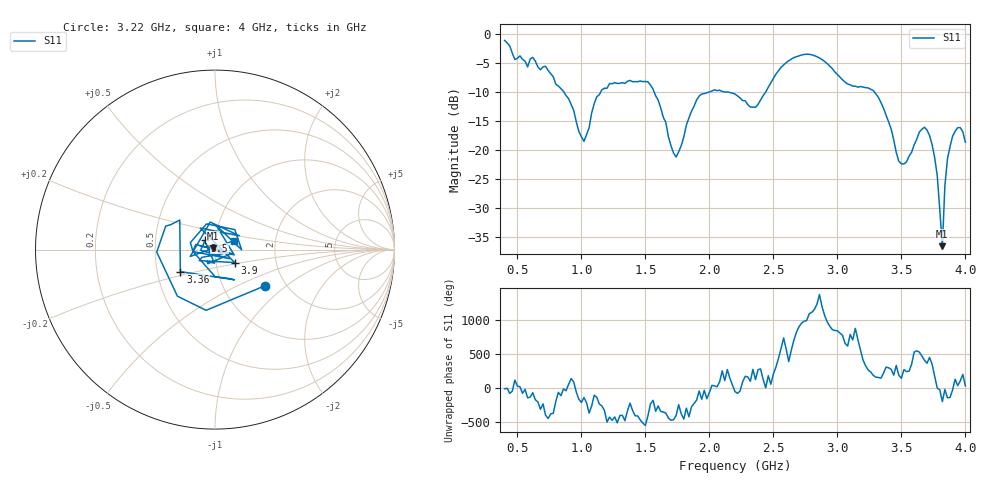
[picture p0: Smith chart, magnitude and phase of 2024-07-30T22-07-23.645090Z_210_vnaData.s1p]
!Created with skrf (http://scikit-rf.org).
# Hz S RI R 50.0
!freq ReS11 ImS11
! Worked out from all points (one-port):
!   181 points, 400 MHz to 4 GHz, reference 50 ohm
!   lowest |S11| = -36.6 dB at 3.82 GHz (marker M1), VSWR 1.03, Z = 48.7 + j0.637 ohm
!   |S11| at or under -10 dB: 1.568 GHz to 2 GHz (432.1 MHz wide, 24.2 % of centre); 2.115 GHz to 2.441 GHz (326.2 MHz wide, 14.3 % of centre); 3.288 GHz to end of sweep (the widest 3 of 4)
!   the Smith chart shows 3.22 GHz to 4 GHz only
!   S11 on the Smith chart (normalised r, x): 3.22 GHz: 1.57, -0.72; 3.36 GHz: 0.66, -0.17; 3.5 GHz: 0.89, +0.09; 3.9 GHz: 1.23, -0.18; 4 GHz: 1.23, +0.12
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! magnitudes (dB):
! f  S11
! 400 MHz  -1.2
! 860 MHz  -9.9
! 1.02 GHz  -18.5
! 1.12 GHz  -10.8
! 1.3 GHz  -8.5
! 1.52 GHz  -8.3
! 1.6 GHz  -11.4
! 1.72 GHz  -20.5
! 1.76 GHz  -20.3
! 1.92 GHz  -10.7
! 2.2 GHz  -10.4
! 2.36 GHz  -12.7
! 2.66 GHz  -4.1
! 2.84 GHz  -4.0
! 3.1 GHz  -8.8
! 3.22 GHz  -9.3
! 3.36 GHz  -12.8
! 3.5 GHz  -22.4
! 3.56 GHz  -21.1
! 3.66 GHz  -16.4
! 3.72 GHz  -17.5
! 3.78 GHz  -24.4
! 3.82 GHz  -36.6
! 3.84 GHz  -26.1
! 3.86 GHz  -21.5
! 3.9 GHz  -17.6
! 3.96 GHz  -16.2
! 4 GHz  -18.7
